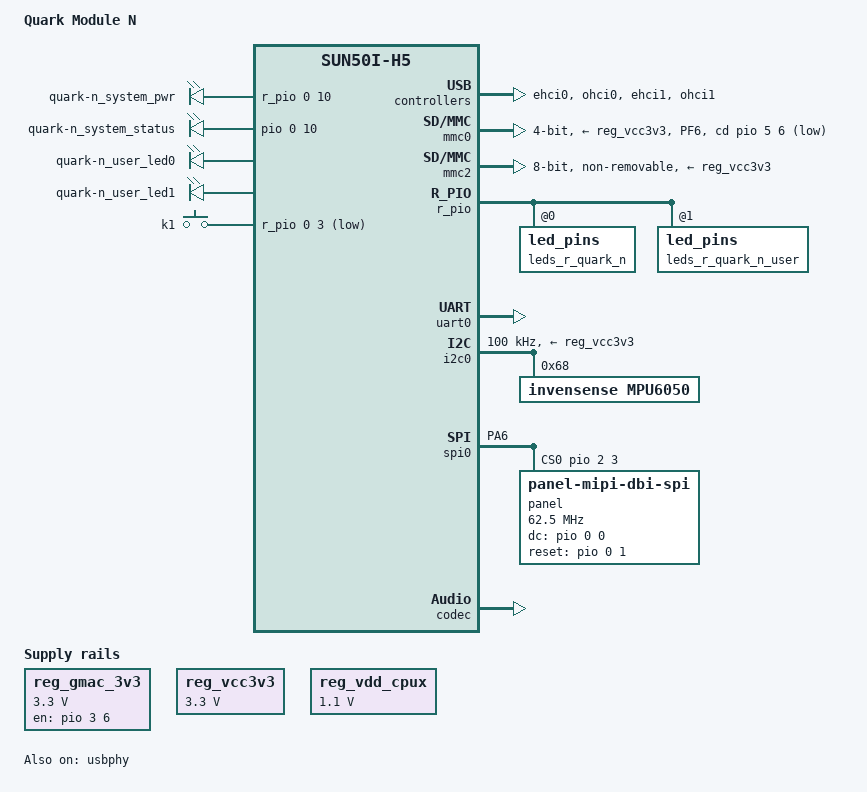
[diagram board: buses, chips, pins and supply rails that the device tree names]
/dts-v1/;
#include "sun50i-h5.dtsi"
#include "sun50i-h5-cpu-opp.dtsi"
#include "arm/allwinner/sunxi-common-regulators.dtsi"
#include <dt-bindings/gpio/gpio.h>
#include <dt-bindings/input/input.h>
#include <dt-bindings/pinctrl/sun4i-a10.h>
#include <dt-bindings/thermal/thermal.h>

/ {
    model = "Quark Module N";
	compatible ="quark-n", "allwinner,sun50i-h5";

    aliases {
        serial0 = &uart0;
        serial1 = &uart1;
        serial2 = &uart2;
        serial3 = &uart3;
        i2c0 = &i2c0;
        i2c1 = &i2c1;
        i2c2 = &i2c2;
        spi0 = &spi0;
        spi1 = &spi1;
        pwm0 = &pwm;
        mmc0 = &mmc0;
        mmc2 = &mmc2;
        ethernet0 = &emac;
        i2s0 = &i2s0;
        pcm5102a = &pcm5102a;
        panel = &panel;
	    ir = &ir;
    };

    chosen {
        stdout-path = "serial0:115200n8";
    };

    connector {
        compatible = "hdmi-connector";
        status = "disabled";
        type = "a";

        port {
            hdmi_con_in: endpoint {
                remote-endpoint = <&hdmi_out_con>;
            };
        };
    };

    leds {
        compatible = "gpio-leds";
        pinctrl-names = "default";
        pinctrl-0 = <&leds_quark_n>,<&leds_r_quark_n>,<&leds_r_quark_n_user>,<&leds_quark_n_user>;

        pwr {
            label = "quark-n_system_pwr";
            gpios = <&r_pio 0 10 GPIO_ACTIVE_HIGH>;
            default-state = "on";
        };

        status {
            label = "quark-n_system_status";
            gpios = <&pio 0 10 GPIO_ACTIVE_HIGH>;
            linux,default-trigger = "heartbeat";
        };
        user_led0:user_led1@0 {
            label = "quark-n_user_led0";
            gpio = <&r_pio 0 7 GPIO_ACTIVE_HIGH>;
            default-state = "no";
        };
        user_led1:user_led2@1 {
            label = "quark-n_user_led1";
            gpio = <&pio 0 16 GPIO_ACTIVE_LOW>;
            default-state = "no";
        };
    };

    r-gpio-keys {
        compatible = "gpio-keys";
        pinctrl-names = "default";
        pinctrl-0 = <&r_key_pins>;
        autorepeat;

        k1@0 {
            label = "k1";
            linux,code = <KEY_PROG1>;
            debounce-interval = <10>; 
            gpios = <&r_pio 0 3 GPIO_ACTIVE_LOW>;
        };
    };


	reg_gmac_3v3: gmac-3v3 {
		compatible = "regulator-fixed";
		regulator-name = "gmac-3v3";
		regulator-min-microvolt = <3300000>;
		regulator-max-microvolt = <3300000>;
		startup-delay-us = <100000>;
		enable-active-high;
		gpio = <&pio 3 6 GPIO_ACTIVE_HIGH>;
	};

	reg_vcc3v3: vcc3v3 {
		compatible = "regulator-fixed";
		regulator-name = "vcc3v3";
		regulator-min-microvolt = <3300000>;
		regulator-max-microvolt = <3300000>;
	};

    reg_vdd_cpux: vdd_cpux {
        compatible = "regulator-gpio";
        regulator-name = "vdd_cpux";
        regulator-min-microvolt = <1100000>;
        regulator-max-microvolt = <1100000>;
        gpios = <&r_pio 0 8 GPIO_ACTIVE_HIGH>; 
        states = <1100000 0x1>;
        regulator-always-on;
        regulator-boot-on;
    };

    pcm5102a: pcm5102a-codec {
        #sound-dai-cells = <0>;
        compatible = "ti,pcm5102a";
        status = "disabled";
    };

    sound_i2s {
        compatible = "simple-audio-card";
        simple-audio-card,name = "I2S-master";
        simple-audio-card,mclk-fs = <256>;
        simple-audio-card,format = "i2s";
        status = "okay";

        simple-audio-card,cpu {
            sound-dai = <&i2s0>;
        };

        simple-audio-card,codec {
            sound-dai = <&pcm5102a>;
        };
    };
};

&cpu_opp_table{
    compatible = "operating-points-v2";
    opp-shared;

    opp-408000000 {
        opp-hz = /bits/ 64 <408000000>;
        opp-microvolt = <1100000>;
        clock-latency-ns = <244144>; /* 8 32k periods */
    };

    opp-648000000 {
        opp-hz = /bits/ 64 <648000000>;
        opp-microvolt = <1100000>;
        clock-latency-ns = <244144>; /* 8 32k periods */
    };

    opp-816000000 {
        opp-hz = /bits/ 64 <816000000>;
        opp-microvolt = <1100000>;
        clock-latency-ns = <244144>; /* 8 32k periods */
    };

    opp-912000000 {
        opp-hz = /bits/ 64 <912000000>;
        opp-microvolt = <1100000>;
        clock-latency-ns = <244144>; /* 8 32k periods */
    };

    opp-960000000 {
        opp-hz = /bits/ 64 <960000000>;
        opp-microvolt = <1100000>;
        clock-latency-ns = <244144>; /* 8 32k periods */
    };

    opp-1008000000 {
        opp-hz = /bits/ 64 <1008000000>;
        opp-microvolt = <1100000>;
        clock-latency-ns = <244144>; /* 8 32k periods */
    };
    opp-1056000000 {
        status = "disabled";
        opp-hz = /bits/ 64 <1056000000>;
        opp-microvolt = <1240000 1240000 1310000>;
        clock-latency-ns = <244144>; /* 8 32k periods */
    };

    opp-1104000000 {
        status = "disabled";
        opp-hz = /bits/ 64 <1104000000>;
        opp-microvolt = <1260000 1260000 1310000>;
        clock-latency-ns = <244144>; /* 8 32k periods */
    };

    opp-1152000000 {
        status = "disabled";
        opp-hz = /bits/ 64 <1152000000>;
        opp-microvolt = <1300000 1300000 1310000>;
        clock-latency-ns = <244144>; /* 8 32k periods */
    };

};

&cpu0 {
    clock-names = "cpu";
    clocks = <&ccu CLK_CPUX>;
    cpu-supply = <&reg_vdd_cpux>;
    operating-points-v2 = <&cpu_opp_table>;
};

&cpu1 {
    clock-names = "cpu";
    clocks = <&ccu CLK_CPUX>;
    cpu-supply = <&reg_vdd_cpux>;
    operating-points-v2 = <&cpu_opp_table>;
};

&cpu2 {
    clock-names = "cpu";
    clocks = <&ccu CLK_CPUX>;
    cpu-supply = <&reg_vdd_cpux>;
    operating-points-v2 = <&cpu_opp_table>;
};

&cpu3 {
    clock-names = "cpu";
    clocks = <&ccu CLK_CPUX>;
    cpu-supply = <&reg_vdd_cpux>;
    operating-points-v2 = <&cpu_opp_table>;
};

&cpu_thermal {
    polling-delay = <1000>;        /* 常温：1000ms(1s)轮询一次 */
    polling-delay-passive = <200>; /* 触发passive温控后：200ms快速轮询 */
    thermal-sensors = <&ths 0>;
    trips {
		cpu_warm: cpu_warm {
			temperature = <60000>;
			hysteresis = <2000>;
			type = "passive";
		};
		cpu_hot: cpu_hot {
			temperature = <70000>;
			hysteresis = <2000>;
			type = "passive";
		};
		cpu_very_hot: cpu_very_hot {
			temperature = <80000>;
			hysteresis = <2000>;
			type = "passive";
		};
		cpu_crit: cpu_crit {
			temperature = <90000>; /* 90°C */
			hysteresis = <2000>;
			type = "critical";     /* 内核会立刻执行硬件紧急关机 */
		};
	};

	cooling-maps {
		cpu_warm_limit_cpu {
			trip = <&cpu_warm>;
			cooling-device = <&cpu0 3 THERMAL_NO_LIMIT>,
                             <&cpu1 3 THERMAL_NO_LIMIT>,
                             <&cpu2 3 THERMAL_NO_LIMIT>,
                             <&cpu3 3 THERMAL_NO_LIMIT>;
		};
		cpu_hot_limit_cpu {
			trip = <&cpu_hot>;
			cooling-device = <&cpu0 4 THERMAL_NO_LIMIT>,
                             <&cpu1 4 THERMAL_NO_LIMIT>,
                             <&cpu2 4 THERMAL_NO_LIMIT>,
                             <&cpu3 4 THERMAL_NO_LIMIT>;
		};
		cpu_very_hot_limit_cpu {
			trip = <&cpu_very_hot>;
			cooling-device = <&cpu0 5 THERMAL_NO_LIMIT>,
                             <&cpu1 5 THERMAL_NO_LIMIT>,
                             <&cpu2 5 THERMAL_NO_LIMIT>,
                             <&cpu3 5 THERMAL_NO_LIMIT>;
		};
	};
};

&ehci0 {
    status = "okay";
};

&ohci0 {
    status = "okay";
};

&ehci1 {
    status = "okay";
};

&ohci1 {
    status = "okay";
};

&ehci2 {
    status = "disabled";
};

&ohci2 {
    status = "disabled";
};

&ehci3 {
    status = "disabled";
};

&ohci3 {
    status = "disabled";
};

&mmc0 {
    pinctrl-names = "default";
    linux,phandle = <0x20>;
    pinctrl-0 = <&mmc0_pins>, <&mmc0_cd_pin>;
    cd-gpios = <&pio 5 6 GPIO_ACTIVE_LOW>; /* PF6 */
    vmmc-supply = <&reg_vcc3v3>;
    bus-width = <4>;
    boot_device = <0>;
    removable = <1>;
    // cd-inverted;
    cap-sd-highspeed;
    mmc-driver-type = <0>;
    status = "okay";
};

&mmc2 {
    linux,phandle = <0x10>;
	pinctrl-names = "default";
	pinctrl-0 = <&mmc2_8bit_pins>;
	vmmc-supply = <&reg_vcc3v3>;
    clock-frequency = <52000000>;
	bus-width = <8>;
    mmc-driver-type = <1>;
	non-removable;
	cap-mmc-hw-reset;
	boot_device = <0>;
	status = "okay";
};

&mmc2_8bit_pins {
	/* Increase drive strength for DDR modes */
	drive-strength = <40>;
	/* eMMC is missing pull-ups */
	bias-pull-up;
};

&pio {
	vcc-pa-supply = <&reg_vcc3v3>;
	vcc-pc-supply = <&reg_vcc3v3>;
	vcc-pe-supply = <&reg_vcc3v3>;
	vcc-pf-supply = <&reg_vcc3v3>;
	vcc-pg-supply = <&reg_vcc3v3>;

    leds_quark_n: led_pins@0 {
        pins = "PA10";
        function = "gpio_out";
    };

    leds_quark_n_user: led_pins@1 {
        pins = "PA16";
        function = "gpio_out";
    };

    spi0_cs_pins: spi0_cs_pins {
        pins = "PA6";
        function = "gpio_out";
    };

    mmc0_cd_pin: mmc0_cd_pin@0 {
        pins = "PF6";
        function = "gpio_in";
        bias-pull-up;
    };

    pwm0_pins: pwm0 {
        pins = "PA5";
        function = "pwm0";
    };
};

&r_pio {
    vcc-pl-supply = <&reg_vcc3v3>;

    leds_r_quark_n: led_pins@0 {
        pins = "PL10";
        function = "gpio_out";
    };

    leds_r_quark_n_user: led_pins@1 {
        pins = "PL7";
        function = "gpio_out";
    };
    r_key_pins: r-key-pins {
        pins = "PL3";
        function = "gpio_in";
        bias-pull-up; /* 关键：使能内部上拉电阻 */
    };

};

&uart0 {
    pinctrl-names = "default";
    pinctrl-0 = <&uart0_pa_pins>;
    status = "okay";
};

&uart1 {
    pinctrl-names = "default";
    pinctrl-0 = <&uart1_pins>;
    status = "disabled";
};

&uart2 {
    pinctrl-names = "default";
    pinctrl-0 = <&uart2_pins>;
    status = "disabled";
};

&uart3 {
    pinctrl-names = "default";
    pinctrl-0 = <&uart3_pins>, <&uart3_rts_cts_pins>;
    status = "disabled";
};

&i2c0 {
    pinctrl-names = "default";
    status = "okay";
    #size-cells = <0>;
    #address-cells = <1>;
    pinctrl-0 = <&i2c0_pins>;
    vmmc-supply = <&reg_vcc3v3>;
    clock-frequency = <100000>;
    mpu6050@68 {
        compatible = "invensense,mpu6050";
        reg = <0x68>;
        status = "okay";
    };
};

&i2c1 {
    status = "disabled";
};

&i2c2 {
    status = "disabled";
};

&spi0 {
    #address-cells = <1>;
    #size-cells = <0>;
    status = "okay";
    pinctrl-names = "default";
    pinctrl-0 = <&spi0_pins &spi0_cs_pins>;
    cs-gpios = <&pio 2 3 GPIO_ACTIVE_HIGH>, <&pio 0 6 GPIO_ACTIVE_HIGH>;
    spi-cpol;
    spi-cpha;

    panel: panel@0 {
        compatible = "panel-mipi-dbi-spi";
        // spi-cpol;
		// spi-cpha;
        write-only;
        reg = <0>;
        fps = <60>;
        buswidth = <8>;
        debug = <0x00>;
        rotation = <90>;
        width-mm = <0>;
        height-mm = <0>;
        spi-max-frequency = <62500000>;
        dc-gpios = <&pio 0 0 GPIO_ACTIVE_HIGH>;
        reset-gpios  = <&pio 0 1 GPIO_ACTIVE_HIGH>;
        timing: panel-timing {
            hactive = <240>; // 横向分辨率
            vactive = <135>; // 纵向分辨率
            hback-porch = <40>;
            vback-porch = <53>;
            clock-frequency = <0>;
            hfront-porch = <0>;
            hsync-len = <0>;
            vfront-porch = <0>;
            vsync-len = <0>;
        };
    };
};

&spi1 {
    status = "disabled";
};

&reg_usb0_vbus {
    gpio = <&r_pio 0 2 GPIO_ACTIVE_HIGH>; /* PL2 */
    status = "okay";
};

&usb_otg {
    dr_mode = "otg";
    status = "disabled";
};

&usbphy {
    usb0_id_det-gpios = <&pio 6 12 GPIO_ACTIVE_HIGH>; /* PG12 */
    usb0_vbus-supply = <&reg_usb0_vbus>;
    status = "okay";
};

&de {
    status = "disabled";
};

&hdmi {
    status = "disabled";
};

&hdmi_out {
    hdmi_out_con: endpoint {
        remote-endpoint = <&hdmi_con_in>;
    };
};


&tcon0 {
    status = "disabled";
};

&mixer0 {
    status = "disabled";
};

&i2s0 {
    sound-dai = <&pcm5102a>;
    status = "disabled";
};

&i2s2 {
    status = "disabled";
};

&emac {
    local-mac-address = [ 00 00 00 00 00 00 ];  
};

&codec {
    allwinner,audio-routing =
        "Line Out", "LINEOUT",
        "MIC1", "Mic",
        "Mic",  "MBIAS";
    status = "okay";
};

&pwm {
    pinctrl-names = "default";
    pinctrl-0 = <&pwm0_pins>;
    status = "disabled";
};

&ir {
    pinctrl-names = "default";
    pinctrl-0 = <&r_ir_rx_pin>;
    status = "disabled";
};

&i2c2_pins {
   bias-pull-up;
};

&i2c1_pins {
   bias-pull-up;
};

&i2c0_pins {
   bias-pull-up;
};
